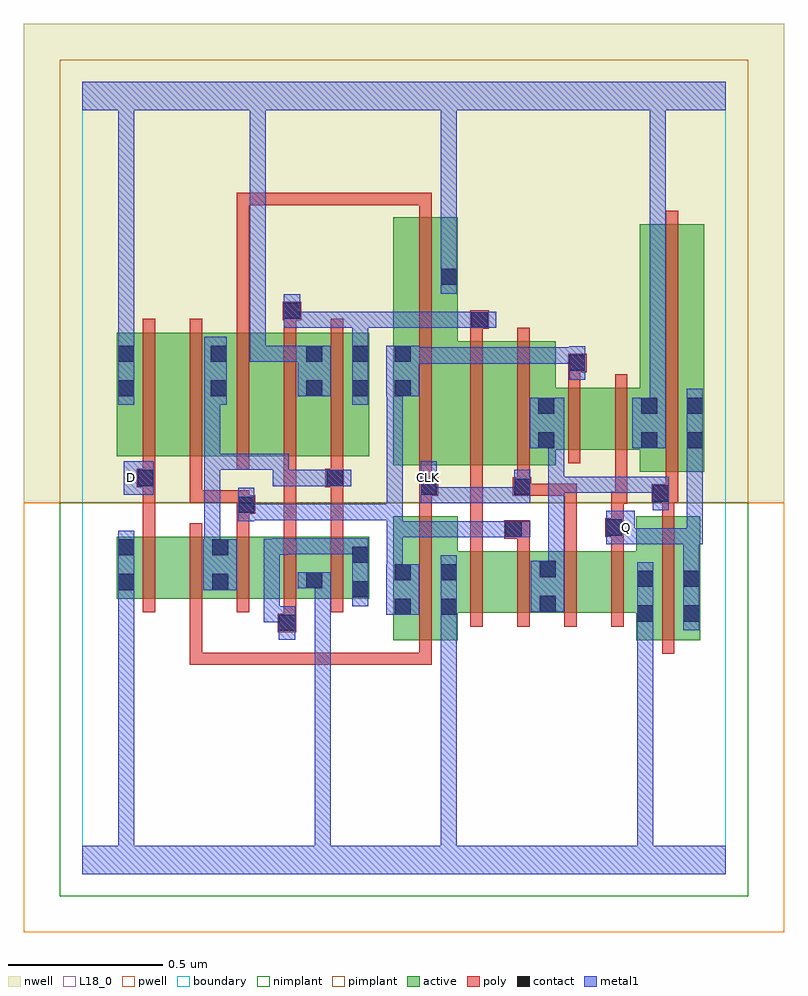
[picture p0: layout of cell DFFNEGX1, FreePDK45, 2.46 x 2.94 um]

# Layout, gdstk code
import gdstk
lib = gdstk.Library(unit=1e-6, precision=1e-09)
def R(c, l, rs):  # rectangles x0, y0, x1, y1
    for r in rs: c.add(gdstk.rectangle(r[:2], r[2:], *l))
def A(c, l, x, y, w, h, nx, ny, dx, dy):  # array of equal rectangles
    R(c, l, [(x+i*dx, y+j*dy, x+i*dx+w, y+j*dy+h) for i in range(nx) for j in range(ny)])
active = (1, 0)
pwell = (2, 0)
nwell = (3, 0)
nimplant = (4, 0)
pimplant = (5, 0)
poly = (9, 0)
contact = (10, 0)
metal1 = (11, 0)
L18_0 = (18, 0)
boundary = (235, 0)

dffnegx1 = lib.new_cell('DFFNEGX1')
R(dffnegx1, active, [(1.006,0.756,1.066,1.156), (1.006,0.756,1.214,1.156), (1.154,0.756,1.214,1.006), (1.79,0.756,1.998,1.156), (1.79,0.756,1.85,1.044), (1.938,0.756,1.998,1.156), (1.154,0.844,1.35,1.044), (1.35,0.844,1.534,1.044), (1.474,0.844,1.654,1.044), (1.474,0.844,1.534,1.044), (1.654,0.844,1.85,1.044), (0.112,0.89,0.292,1.09), (0.292,0.89,0.476,1.09), (0.416,0.89,0.596,1.09), (0.596,0.89,0.78,1.09), (0.72,0.89,0.928,1.09), (0.868,0.89,0.928,1.09), (0.112,0.914,0.172,1.09), (0.416,0.914,0.476,1.086), (0.72,0.92,0.78,0.98), (1.802,1.3,2.01,2.1), (1.95,1.3,2.01,2.044), (1.006,1.322,1.214,2.122), (1.006,1.322,1.066,2.044), (1.154,1.322,1.35,1.722), (1.154,1.322,1.214,1.96), (1.35,1.322,1.53,1.722), (0.112,1.35,0.172,1.75), (0.112,1.35,0.292,1.75), (0.292,1.35,0.472,1.75), (0.412,1.35,0.472,1.75), (0.412,1.35,0.596,1.75), (0.596,1.35,0.78,1.75), (0.72,1.35,0.928,1.75), (0.72,1.35,0.78,1.712), (0.868,1.35,0.928,1.75), (1.47,1.372,1.666,1.572), (1.47,1.372,1.53,1.722), (1.666,1.372,1.862,1.572), (1.802,1.372,1.862,1.544)])
R(dffnegx1, pwell, [(-0.188,-0.188,2.268,1.2)])
R(dffnegx1, nwell, [(-0.188,1.2,2.268,2.748)])
R(dffnegx1, nimplant, [(-0.072,-0.072,2.152,1.2)])
R(dffnegx1, pimplant, [(-0.072,1.2,2.152,2.632)])
A(dffnegx1, poly, 1.254, 0.8, 0.04, 0.288, 4, 1, 0.152, 0)
A(dffnegx1, poly, 0.196, 0.846, 0.04, 0.288, 5, 1, 0.152, 0)
A(dffnegx1, poly, 0.196, 1.306, 0.04, 0.488, 5, 1, 0.152, 0)
R(dffnegx1, poly, [(0.348,0.676,0.388,0.716), (0.348,0.676,0.388,0.716), (0.348,0.676,0.388,0.716), (0.348,0.676,0.566,0.716), (0.348,0.676,0.388,0.886), (0.526,0.676,0.566,0.716), (0.526,0.676,0.566,0.716), (0.526,0.676,0.566,0.716), (0.526,0.676,0.566,0.716), (0.526,0.676,0.566,0.716), (0.526,0.676,0.566,0.716), (0.526,0.676,0.566,0.716), (0.526,0.676,0.72,0.716), (0.68,0.676,0.72,0.716), (0.68,0.676,0.72,0.716), (0.68,0.676,0.72,0.716), (0.68,0.676,1.024,0.716), (0.984,0.676,1.024,0.716), (0.984,0.676,1.024,0.716), (0.984,0.676,1.024,0.716), (0.984,0.676,1.13,0.716), (1.09,0.676,1.13,0.752), (1.09,0.676,1.13,0.716), (1.09,0.676,1.13,0.716), (1.09,0.676,1.13,0.716), (1.09,0.712,1.13,1.2), (1.874,0.712,1.914,1.2), (0.632,0.782,0.692,0.842), (0.652,0.802,0.692,0.886), (1.254,1.048,1.294,1.282), (1.406,1.048,1.446,1.124), (1.558,1.048,1.598,1.262), (1.71,1.048,1.75,1.13), (1.364,1.084,1.446,1.144), (1.69,1.09,1.75,1.15), (0.196,1.094,0.236,1.29), (0.5,1.094,0.54,1.204), (0.652,1.094,0.692,1.31), (0.804,1.094,0.844,1.29), (1.71,1.11,1.75,1.236), (1.09,1.16,1.13,1.262), (1.874,1.16,1.914,1.24), (0.5,1.164,0.56,1.224), (0.5,1.184,0.54,1.24), (1.71,1.196,1.762,1.236), (1.722,1.196,1.762,1.368), (0.348,1.2,0.388,1.24), (0.348,1.2,0.46,1.24), (0.348,1.2,0.388,1.346), (0.42,1.2,0.46,1.24), (0.42,1.2,0.54,1.24), (0.5,1.2,0.54,1.24), (1.84,1.2,1.926,1.26), (1.874,1.2,1.914,1.24), (1.874,1.2,1.914,1.24), (1.886,1.22,1.926,1.296), (1.09,1.222,1.13,1.262), (1.09,1.222,1.13,1.262), (1.09,1.222,1.15,1.282), (1.392,1.222,1.452,1.282), (1.412,1.222,1.598,1.262), (1.558,1.222,1.598,1.262), (1.558,1.222,1.598,1.262), (1.558,1.222,1.598,1.262), (1.558,1.222,1.598,1.262), (1.558,1.222,1.598,1.262), (1.09,1.242,1.13,1.318), (1.254,1.242,1.294,1.318), (1.254,1.242,1.294,1.282), (1.254,1.242,1.294,1.282), (1.254,1.242,1.294,1.282), (1.406,1.242,1.446,1.318), (0.176,1.25,0.236,1.31), (0.196,1.25,0.236,1.29), (0.196,1.25,0.236,1.29), (0.786,1.25,0.846,1.31), (0.804,1.25,0.844,1.29), (0.804,1.25,0.844,1.29), (1.886,1.256,1.926,2.144), (0.196,1.27,0.236,1.346), (0.652,1.27,0.692,1.346), (0.652,1.27,0.692,1.31), (0.652,1.27,0.692,1.31), (0.652,1.27,0.692,1.31), (0.804,1.27,0.844,1.346), (1.09,1.278,1.13,2.166), (1.254,1.278,1.294,1.766), (1.406,1.278,1.446,1.766), (1.57,1.328,1.61,1.616), (1.722,1.328,1.762,1.616), (1.57,1.576,1.61,1.662), (1.57,1.622,1.63,1.682), (1.254,1.726,1.294,1.802), (0.5,1.754,0.54,2.202), (0.652,1.754,0.692,1.83), (1.254,1.762,1.314,1.822), (0.648,1.79,0.708,1.85), (1.09,2.126,1.13,2.202), (0.5,2.162,0.54,2.202), (0.5,2.162,0.582,2.202), (0.542,2.162,0.582,2.202), (0.542,2.162,0.582,2.202), (0.542,2.162,0.582,2.202), (0.542,2.162,0.72,2.202), (0.68,2.162,0.72,2.202), (0.68,2.162,0.72,2.202), (0.68,2.162,0.72,2.202), (0.68,2.162,0.72,2.202), (0.68,2.162,0.72,2.202), (0.68,2.162,0.72,2.202), (0.68,2.162,0.72,2.202), (0.68,2.162,0.72,2.202), (0.68,2.162,0.72,2.202), (0.68,2.162,0.898,2.202), (0.858,2.162,0.898,2.202), (0.858,2.162,0.898,2.202), (0.858,2.162,0.898,2.202), (0.858,2.162,1.13,2.202), (1.09,2.162,1.13,2.202), (1.09,2.162,1.13,2.202), (1.09,2.162,1.13,2.202)])
R(dffnegx1, contact, [(0.636,0.786,0.688,0.838), (1.794,0.816,1.846,0.868), (1.942,0.816,1.994,0.868), (1.01,0.838,1.062,0.89), (1.158,0.838,1.21,0.89), (1.478,0.848,1.53,0.9), (0.872,0.894,0.924,0.946), (0.116,0.918,0.168,0.97), (0.42,0.918,0.472,0.97), (0.724,0.924,0.776,0.976), (1.794,0.928,1.846,0.98), (1.942,0.928,1.994,0.98), (1.01,0.95,1.062,1.002), (1.158,0.95,1.21,1.002), (1.478,0.96,1.53,1.012), (0.872,1.006,0.924,1.058), (0.116,1.03,0.168,1.082), (0.42,1.03,0.472,1.082), (1.368,1.088,1.42,1.14), (1.694,1.094,1.746,1.146), (0.504,1.168,0.556,1.22), (1.844,1.204,1.896,1.256), (1.094,1.226,1.146,1.278), (1.396,1.226,1.448,1.278), (0.18,1.254,0.232,1.306), (0.79,1.254,0.842,1.306), (1.474,1.376,1.526,1.428), (1.806,1.376,1.858,1.428), (1.954,1.376,2.006,1.428), (1.474,1.488,1.526,1.54), (1.806,1.488,1.858,1.54), (1.954,1.488,2.006,1.54), (0.116,1.544,0.168,1.596), (0.416,1.544,0.468,1.596), (0.724,1.544,0.776,1.596), (0.872,1.544,0.924,1.596), (1.01,1.544,1.062,1.596), (1.574,1.626,1.626,1.678), (0.116,1.656,0.168,1.708), (0.416,1.656,0.468,1.708), (0.724,1.656,0.776,1.708), (0.872,1.656,0.924,1.708), (1.01,1.656,1.062,1.708), (1.258,1.766,1.31,1.818), (0.652,1.794,0.704,1.846), (1.158,1.904,1.21,1.956)])
R(dffnegx1, metal1, [(0,0,2.08,0.092), (0.116,0.04,0.168,0.092), (0.116,0.04,0.168,0.092), (0.116,0.04,0.168,0.092), (0.116,0.04,0.168,0.092), (0.116,0.04,0.168,0.092), (0.116,0.04,0.168,0.092), (0.116,0.04,0.168,0.092), (0.116,0.04,0.168,0.092), (0.116,0.04,0.168,0.092), (0.116,0.04,0.168,0.092), (0.116,0.04,0.168,0.942), (0.752,0.04,0.804,0.092), (0.752,0.04,0.804,0.092), (0.752,0.04,0.804,0.092), (0.752,0.04,0.804,0.092), (0.752,0.04,0.804,0.092), (0.752,0.04,0.804,0.092), (0.752,0.04,0.804,0.976), (1.158,0.04,1.21,0.092), (1.158,0.04,1.21,0.092), (1.158,0.04,1.21,0.862), (1.794,0.04,1.846,0.092), (1.794,0.04,1.846,0.092), (1.794,0.04,1.846,0.092), (1.794,0.04,1.846,0.092), (1.794,0.04,1.846,0.092), (1.794,0.04,1.846,0.092), (1.794,0.04,1.846,0.092), (1.794,0.04,1.846,0.092), (1.794,0.04,1.846,0.092), (1.794,0.04,1.846,0.092), (1.794,0.04,1.846,0.092), (1.794,0.04,1.846,0.092), (1.794,0.04,1.846,0.84), (0.636,0.758,0.688,0.866), (1.794,0.788,1.846,1.008), (1.942,0.788,1.994,1.008), (1.158,0.81,1.21,1.03), (1.158,0.81,1.21,0.862), (1.158,0.81,1.21,0.862), (1.158,0.81,1.21,0.862), (1.158,0.81,1.21,0.862), (1.158,0.81,1.21,0.862), (1.158,0.81,1.21,0.862), (1.158,0.81,1.21,0.862), (1.158,0.81,1.21,0.862), (1.158,0.81,1.21,0.862), (1.158,0.81,1.21,0.862), (0.586,0.814,0.638,0.866), (0.586,0.814,0.638,0.866), (0.586,0.814,0.638,0.866), (0.586,0.814,0.688,0.866), (0.586,0.814,0.638,1.084), (0.982,0.838,1.09,1.002), (1.45,0.848,1.558,1.012), (0.872,0.866,0.924,1.086), (0.116,0.89,0.168,1.11), (0.116,0.89,0.168,0.942), (0.116,0.89,0.168,0.942), (0.116,0.89,0.168,0.942), (0.116,0.89,0.168,0.942), (0.116,0.89,0.168,0.942), (0.116,0.89,0.168,0.942), (0.392,0.918,0.5,1.082), (0.696,0.924,0.804,0.976), (0.752,0.924,0.804,0.976), (0.752,0.924,0.804,0.976), (0.752,0.924,0.804,0.976), (0.752,0.924,0.804,0.976), (0.752,0.924,0.804,0.976), (0.752,0.924,0.804,0.976), (0.752,0.924,0.804,0.976), (0.752,0.924,0.804,0.976), (0.752,0.924,0.804,0.976), (0.752,0.924,0.804,0.976), (0.984,0.95,1.036,1.14), (1.942,0.956,1.994,1.118), (1.506,0.96,1.558,1.284), (0.394,1.03,0.446,1.082), (0.394,1.03,0.446,1.082), (0.394,1.03,0.446,1.358), (0.586,1.032,0.638,1.084), (0.586,1.032,0.666,1.084), (0.614,1.032,0.666,1.086), (0.614,1.034,0.814,1.086), (0.762,1.034,0.814,1.086), (0.762,1.034,0.814,1.086), (0.762,1.034,0.814,1.086), (0.762,1.034,0.924,1.086), (1.694,1.066,1.786,1.174), (1.734,1.066,1.786,1.118), (1.734,1.066,1.786,1.118), (1.734,1.066,1.994,1.118), (1.942,1.066,1.994,1.118), (1.942,1.066,1.994,1.118), (1.942,1.066,2.006,1.118), (1.954,1.066,2.006,1.4), (1.954,1.066,2.006,1.118), (1.954,1.066,2.006,1.118), (0.984,1.088,1.036,1.14), (0.984,1.088,1.036,1.14), (0.984,1.088,1.036,1.196), (0.984,1.088,1.256,1.14), (1.204,1.088,1.256,1.14), (1.204,1.088,1.256,1.14), (1.204,1.088,1.256,1.14), (1.204,1.088,1.388,1.14), (1.336,1.088,1.388,1.14), (1.336,1.088,1.392,1.14), (1.34,1.088,1.448,1.14), (0.504,1.14,0.556,1.248), (0.504,1.144,0.556,1.196), (0.504,1.144,0.556,1.196), (0.504,1.144,0.704,1.196), (0.652,1.144,0.704,1.196), (0.652,1.144,0.814,1.196), (0.762,1.144,0.814,1.196), (0.762,1.144,0.814,1.196), (0.762,1.144,0.814,1.196), (0.762,1.144,0.926,1.196), (0.874,1.144,0.926,1.196), (0.874,1.144,1.036,1.196), (0.984,1.144,1.036,1.196), (0.984,1.144,1.036,1.196), (0.984,1.144,1.036,1.596), (1.844,1.176,1.896,1.284), (1.094,1.198,1.256,1.25), (1.094,1.198,1.146,1.334), (1.204,1.198,1.256,1.25), (1.204,1.198,1.256,1.25), (1.204,1.198,1.256,1.25), (1.204,1.198,1.388,1.25), (1.336,1.198,1.388,1.25), (1.336,1.198,1.448,1.25), (1.396,1.198,1.448,1.306), (0.134,1.226,0.232,1.334), (1.506,1.232,1.558,1.284), (1.506,1.232,1.558,1.284), (1.506,1.232,1.558,1.284), (1.506,1.232,1.626,1.284), (1.506,1.232,1.558,1.428), (1.574,1.232,1.626,1.284), (1.574,1.232,1.668,1.284), (1.616,1.232,1.668,1.284), (1.616,1.232,1.762,1.284), (1.71,1.232,1.762,1.284), (1.71,1.232,1.884,1.284), (1.832,1.232,1.884,1.284), (1.832,1.232,1.896,1.284), (0.616,1.254,0.814,1.306), (0.616,1.254,0.668,1.358), (0.762,1.254,0.814,1.306), (0.762,1.254,0.814,1.306), (0.762,1.254,0.87,1.306), (0.394,1.306,0.446,1.358), (0.394,1.306,0.446,1.358), (0.394,1.306,0.446,1.358), (0.394,1.306,0.638,1.358), (0.394,1.306,0.446,1.568), (0.586,1.306,0.638,1.358), (0.586,1.306,0.668,1.358), (1.954,1.348,2.006,1.568), (1.446,1.376,1.558,1.54), (1.778,1.376,1.886,1.54), (1.834,1.488,1.886,2.52), (0.116,1.516,0.168,1.736), (0.394,1.516,0.468,1.736), (0.872,1.516,0.924,1.736), (0.696,1.544,0.804,1.708), (0.982,1.544,1.09,1.708), (1.574,1.598,1.626,1.706), (1.038,1.65,1.09,1.702), (1.038,1.65,1.09,1.702), (1.038,1.65,1.256,1.702), (1.204,1.65,1.256,1.702), (1.204,1.65,1.256,1.702), (1.204,1.65,1.256,1.702), (1.204,1.65,1.366,1.702), (1.314,1.65,1.366,1.702), (1.314,1.65,1.366,1.702), (1.314,1.65,1.366,1.702), (1.314,1.65,1.366,1.702), (1.314,1.65,1.366,1.702), (1.314,1.65,1.516,1.702), (1.464,1.65,1.516,1.702), (1.464,1.65,1.516,1.702), (1.464,1.65,1.516,1.702), (1.464,1.65,1.626,1.702), (0.542,1.656,0.594,1.708), (0.542,1.656,0.594,1.708), (0.542,1.656,0.594,1.708), (0.542,1.656,0.594,1.708), (0.542,1.656,0.594,1.708), (0.542,1.656,0.594,1.708), (0.542,1.656,0.594,1.708), (0.542,1.656,0.594,1.708), (0.542,1.656,0.594,1.708), (0.542,1.656,0.668,1.708), (0.542,1.656,0.594,2.52), (0.616,1.656,0.668,1.708), (0.616,1.656,0.748,1.708), (0.116,1.684,0.168,1.736), (0.116,1.684,0.168,1.736), (0.116,1.684,0.168,1.736), (0.116,1.684,0.168,1.736), (0.116,1.684,0.168,1.736), (0.116,1.684,0.168,1.736), (0.116,1.684,0.168,1.736), (0.116,1.684,0.168,1.736), (0.116,1.684,0.168,1.736), (0.116,1.684,0.168,1.736), (0.116,1.684,0.168,2.52), (0.872,1.684,0.924,1.818), (0.652,1.766,0.704,1.874), (0.652,1.766,0.814,1.818), (0.762,1.766,0.814,1.818), (0.762,1.766,0.814,1.818), (0.762,1.766,0.814,1.818), (0.762,1.766,0.924,1.818), (0.872,1.766,0.924,1.818), (0.872,1.766,1.1,1.818), (1.048,1.766,1.1,1.818), (1.048,1.766,1.1,1.818), (1.048,1.766,1.1,1.818), (1.048,1.766,1.256,1.818), (1.204,1.766,1.256,1.818), (1.204,1.766,1.282,1.818), (1.23,1.766,1.338,1.818), (1.158,1.876,1.21,1.984), (1.158,1.932,1.21,1.984), (1.158,1.932,1.21,1.984), (1.158,1.932,1.21,1.984), (1.158,1.932,1.21,1.984), (1.158,1.932,1.21,1.984), (1.158,1.932,1.21,1.984), (1.158,1.932,1.21,1.984), (1.158,1.932,1.21,1.984), (1.158,1.932,1.21,2.52), (0,2.468,2.08,2.56), (0.116,2.468,0.168,2.52), (0.116,2.468,0.168,2.52), (0.116,2.468,0.168,2.52), (0.116,2.468,0.168,2.52), (0.116,2.468,0.168,2.52), (0.116,2.468,0.168,2.52), (0.542,2.468,0.594,2.52), (0.542,2.468,0.594,2.52), (0.542,2.468,0.594,2.52), (0.542,2.468,0.594,2.52), (0.542,2.468,0.594,2.52), (0.542,2.468,0.594,2.52), (0.542,2.468,0.594,2.52), (0.542,2.468,0.594,2.52), (1.834,2.468,1.886,2.52), (1.834,2.468,1.886,2.52), (1.834,2.468,1.886,2.52), (1.834,2.468,1.886,2.52), (1.834,2.468,1.886,2.52), (1.834,2.468,1.886,2.52), (1.834,2.468,1.886,2.52), (1.834,2.468,1.886,2.52)])
R(dffnegx1, L18_0, [(0,0,2.08,0.092), (0.116,0.04,0.168,0.092), (0.116,0.04,0.168,0.092), (0.116,0.04,0.168,0.092), (0.116,0.04,0.168,0.092), (0.116,0.04,0.168,0.092), (0.116,0.04,0.168,0.092), (0.116,0.04,0.168,0.092), (0.116,0.04,0.168,0.092), (0.116,0.04,0.168,0.092), (0.116,0.04,0.168,0.092), (0.116,0.04,0.168,0.942), (0.752,0.04,0.804,0.092), (0.752,0.04,0.804,0.092), (0.752,0.04,0.804,0.092), (0.752,0.04,0.804,0.092), (0.752,0.04,0.804,0.092), (0.752,0.04,0.804,0.092), (0.752,0.04,0.804,0.976), (1.158,0.04,1.21,0.092), (1.158,0.04,1.21,0.092), (1.158,0.04,1.21,0.862), (1.794,0.04,1.846,0.092), (1.794,0.04,1.846,0.092), (1.794,0.04,1.846,0.092), (1.794,0.04,1.846,0.092), (1.794,0.04,1.846,0.092), (1.794,0.04,1.846,0.092), (1.794,0.04,1.846,0.092), (1.794,0.04,1.846,0.092), (1.794,0.04,1.846,0.092), (1.794,0.04,1.846,0.092), (1.794,0.04,1.846,0.092), (1.794,0.04,1.846,0.092), (1.794,0.04,1.846,0.84), (1.794,0.788,1.846,1.008), (1.942,0.788,1.994,1.008), (1.158,0.81,1.21,0.862), (1.158,0.81,1.21,0.862), (1.158,0.81,1.21,0.862), (1.158,0.81,1.21,0.862), (1.158,0.81,1.21,0.862), (1.158,0.81,1.21,0.862), (1.158,0.81,1.21,0.862), (1.158,0.81,1.21,0.862), (1.158,0.81,1.21,0.862), (1.158,0.81,1.21,0.862), (1.158,0.81,1.21,1.03), (0.116,0.89,0.168,0.942), (0.116,0.89,0.168,0.942), (0.116,0.89,0.168,0.942), (0.116,0.89,0.168,0.942), (0.116,0.89,0.168,0.942), (0.116,0.89,0.168,0.942), (0.116,0.89,0.168,1.11), (0.696,0.924,0.804,0.976), (0.752,0.924,0.804,0.976), (0.752,0.924,0.804,0.976), (0.752,0.924,0.804,0.976), (0.752,0.924,0.804,0.976), (0.752,0.924,0.804,0.976), (0.752,0.924,0.804,0.976), (0.752,0.924,0.804,0.976), (0.752,0.924,0.804,0.976), (0.752,0.924,0.804,0.976), (0.752,0.924,0.804,0.976), (1.942,0.956,1.994,1.118), (1.694,1.066,1.786,1.174), (1.734,1.066,1.786,1.118), (1.734,1.066,1.786,1.118), (1.734,1.066,1.994,1.118), (1.942,1.066,1.994,1.118), (1.942,1.066,1.994,1.118), (1.942,1.066,2.006,1.118), (1.954,1.066,2.006,1.118), (1.954,1.066,2.006,1.118), (1.954,1.066,2.006,1.4), (1.734,1.094,1.786,1.146), (1.094,1.198,1.146,1.334), (1.094,1.198,1.256,1.25), (1.204,1.198,1.256,1.25), (1.204,1.198,1.256,1.25), (1.204,1.198,1.256,1.25), (1.204,1.198,1.388,1.25), (1.336,1.198,1.388,1.25), (1.336,1.198,1.448,1.25), (1.396,1.198,1.448,1.306), (0.134,1.226,0.232,1.334), (0.134,1.254,0.186,1.306), (1.094,1.254,1.146,1.306), (1.954,1.348,2.006,1.568), (1.778,1.376,1.886,1.54), (1.834,1.488,1.886,2.52), (0.116,1.516,0.168,1.736), (0.696,1.544,0.804,1.708), (0.542,1.656,0.594,1.708), (0.542,1.656,0.594,1.708), (0.542,1.656,0.594,1.708), (0.542,1.656,0.594,1.708), (0.542,1.656,0.594,1.708), (0.542,1.656,0.594,1.708), (0.542,1.656,0.594,1.708), (0.542,1.656,0.594,1.708), (0.542,1.656,0.594,1.708), (0.542,1.656,0.594,2.52), (0.542,1.656,0.668,1.708), (0.616,1.656,0.668,1.708), (0.616,1.656,0.748,1.708), (0.116,1.684,0.168,1.736), (0.116,1.684,0.168,1.736), (0.116,1.684,0.168,1.736), (0.116,1.684,0.168,1.736), (0.116,1.684,0.168,1.736), (0.116,1.684,0.168,1.736), (0.116,1.684,0.168,1.736), (0.116,1.684,0.168,1.736), (0.116,1.684,0.168,1.736), (0.116,1.684,0.168,1.736), (0.116,1.684,0.168,2.52), (1.158,1.876,1.21,1.984), (1.158,1.932,1.21,1.984), (1.158,1.932,1.21,1.984), (1.158,1.932,1.21,1.984), (1.158,1.932,1.21,1.984), (1.158,1.932,1.21,1.984), (1.158,1.932,1.21,1.984), (1.158,1.932,1.21,1.984), (1.158,1.932,1.21,1.984), (1.158,1.932,1.21,2.52), (0,2.468,2.08,2.56), (0.116,2.468,0.168,2.52), (0.116,2.468,0.168,2.52), (0.116,2.468,0.168,2.52), (0.116,2.468,0.168,2.52), (0.116,2.468,0.168,2.52), (0.116,2.468,0.168,2.52), (0.542,2.468,0.594,2.52), (0.542,2.468,0.594,2.52), (0.542,2.468,0.594,2.52), (0.542,2.468,0.594,2.52), (0.542,2.468,0.594,2.52), (0.542,2.468,0.594,2.52), (0.542,2.468,0.594,2.52), (0.542,2.468,0.594,2.52), (1.834,2.468,1.886,2.52), (1.834,2.468,1.886,2.52), (1.834,2.468,1.886,2.52), (1.834,2.468,1.886,2.52), (1.834,2.468,1.886,2.52), (1.834,2.468,1.886,2.52), (1.834,2.468,1.886,2.52), (1.834,2.468,1.886,2.52)])
R(dffnegx1, boundary, [(0,0,2.08,2.56)])
dffnegx1.add(gdstk.Label('CLK', (1.12,1.28), layer=11, texttype=0))
dffnegx1.add(gdstk.Label('D', (0.16,1.28), layer=11, texttype=0))
dffnegx1.add(gdstk.Label('Q', (1.76,1.12), layer=11, texttype=0))

lib.write_gds('DFFNEGX1.gds')
